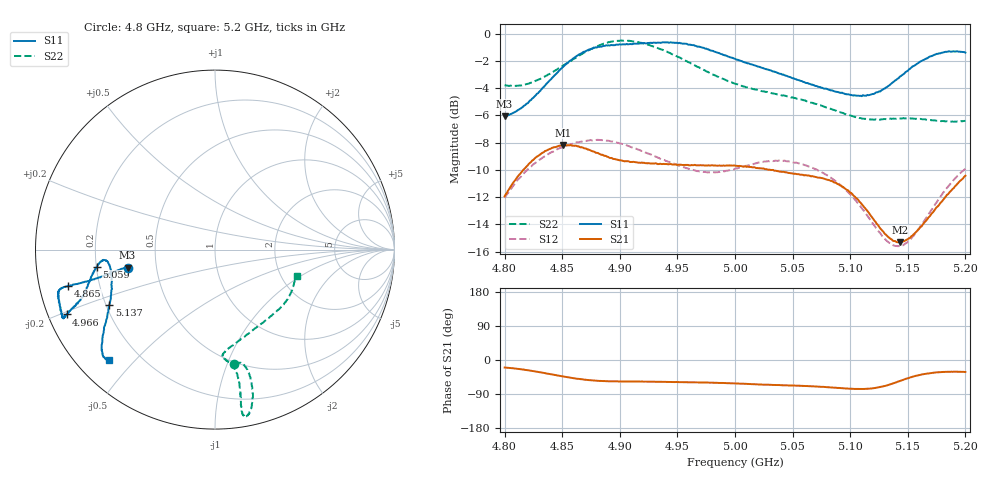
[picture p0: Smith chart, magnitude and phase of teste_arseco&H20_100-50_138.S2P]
! Network Analyzer HP8722D
! Hewlett-Packard
! Data name: Linha & Wilkinson
! Saver's name: Rodrigo Anjos
! Comments: Teste da utilização de aquisição
! continua pelo VNA HP8722D
! Time and date: 6/5/2025 13:43
!  Frequency  S11  S21  S12  S22
# HZ  S  MA R 50
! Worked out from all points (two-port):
!   401 points, 4.8 GHz to 5.2 GHz, reference 50 ohm
!   highest |S21| = -8.16 dB at 4.851 GHz (marker M1); lowest = -15.3 dB at 5.143 GHz (marker M2)
!   |S21| within 3 dB of the highest: 4.806 GHz to 5.092 GHz (286.4 MHz wide, 5.79 % of centre); 5.191471 GHz to end of sweep
!   lowest |S11| = -6.1 dB at 4.8 GHz (marker M3), VSWR 2.98, Z = 16.9 - j4.54 ohm
!   |S11| at or under -10 dB: nowhere
!   |S22| runs from -6.5 to -0.5 dB; largest |S21 - S12| = 0.62
!   S11 on the Smith chart (normalised r, x): 4.8 GHz: 0.34, -0.09; 4.865 GHz: 0.09, -0.12; 4.966 GHz: 0.05, -0.21; 5.059 GHz: 0.20, -0.07; 5.137 GHz: 0.21, -0.23; 5.2 GHz: 0.09, -0.42
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4.8e9  0.4977 -168.3  0.2529 -20.0  0.2497 -141.1  0.6474 -80.4
4.823e9  0.5715 -167.7  0.3385 -28.4  0.3251 -144.1  0.6613 -76.0
4.851e9  0.7577 -166.1  0.3907 -43.6  0.3841 -149.5  0.765 -74.6
4.865e9  0.8417 -166.2  0.3845 -50.1  0.4004 -152.0  0.8327 -75.3
4.867e9  0.8491 -166.0  0.3833 -51.2  0.4019 -152.3  0.8431 -75.5
4.88e9  0.8904 -165.7  0.3655 -54.8  0.4077 -154.3  0.8984 -76.8
4.9e9  0.9151 -162.8  0.3429 -56.5  0.3957 -156.7  0.9425 -79.2
4.934e9  0.928 -156.6  0.3324 -57.7  0.3501 -155.8  0.8824 -80.5
4.966e9  0.9025 -156.4  0.3291 -58.9  0.3142 -148.4  0.7617 -79.7
5e9  0.8091 -159.2  0.3279 -61.9  0.3195 -137.4  0.6559 -81.4
5.032e9  0.73 -164.9  0.316 -65.8  0.3416 -134.3  0.6049 -85.4
5.059e9  0.6665 -171.6  0.3036 -68.4  0.3312 -136.3  0.5709 -84.4
5.067e9  0.6505 -173.2  0.3001 -69.3  0.3224 -137.0  0.558 -82.5
5.087e9  0.6133 -174.5  0.2838 -73.3  0.2883 -138.7  0.5231 -74.9
5.103e9  0.5933 -171.6  0.2542 -76.2  0.2491 -138.7  0.4968 -65.1
5.116e9  0.5951 -165.5  0.2206 -76.0  0.2115 -135.5  0.4855 -55.8
5.134e9  0.6465 -154.2  0.178 -65.1  0.1703 -120.6  0.4873 -43.3
5.137e9  0.6633 -152.5  0.1738 -62.0  0.1674 -116.7  0.4879 -41.5
5.143e9  0.6949 -149.4  0.1714 -55.6  0.1661 -108.7  0.4888 -38.0
5.154e9  0.7585 -144.7  0.1814 -44.3  0.1796 -94.9  0.4885 -32.3
5.174e9  0.8395 -138.6  0.2278 -32.9  0.2373 -80.4  0.4806 -24.0
5.2e9  0.8529 -133.7  0.301 -31.6  0.3197 -77.2  0.478 -17.6
